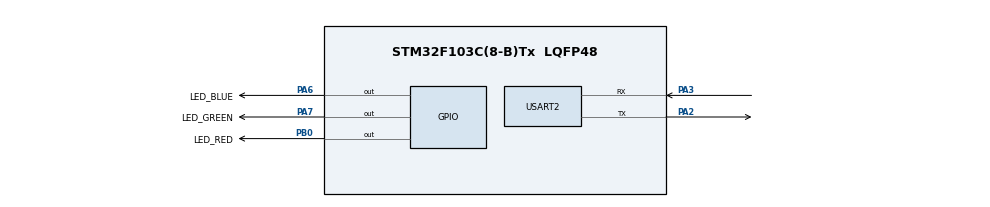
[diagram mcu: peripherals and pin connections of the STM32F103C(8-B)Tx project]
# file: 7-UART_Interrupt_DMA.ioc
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Dma.Request0=USART2_TX
Dma.Request1=USART2_RX
Dma.USART2_RX.1.Direction=DMA_PERIPH_TO_MEMORY
Dma.USART2_RX.1.Instance=DMA1_Channel6
Dma.USART2_RX.1.MemDataAlignment=DMA_MDATAALIGN_BYTE
Dma.USART2_RX.1.MemInc=DMA_MINC_ENABLE
Dma.USART2_RX.1.Mode=DMA_NORMAL
Dma.USART2_RX.1.PeriphDataAlignment=DMA_PDATAALIGN_BYTE
Dma.USART2_RX.1.PeriphInc=DMA_PINC_DISABLE
Dma.USART2_RX.1.Priority=DMA_PRIORITY_LOW
Dma.USART2_TX.0.Direction=DMA_MEMORY_TO_PERIPH
Dma.USART2_TX.0.Instance=DMA1_Channel7
Dma.USART2_TX.0.MemDataAlignment=DMA_MDATAALIGN_BYTE
Dma.USART2_TX.0.MemInc=DMA_MINC_ENABLE
Dma.USART2_TX.0.Mode=DMA_NORMAL
Dma.USART2_TX.0.PeriphDataAlignment=DMA_PDATAALIGN_BYTE
Dma.USART2_TX.0.PeriphInc=DMA_PINC_DISABLE
Dma.USART2_TX.0.Priority=DMA_PRIORITY_LOW
Mcu.Family=STM32F1
Mcu.Name=STM32F103C(8-B)Tx
Mcu.Package=LQFP48
NVIC.DMA1_Channel6_IRQn=true\:0\:0\:false\:false\:true\:false\:true\:true
NVIC.DMA1_Channel7_IRQn=true\:0\:0\:false\:false\:true\:false\:true\:true
NVIC.PriorityGroup=NVIC_PRIORITYGROUP_4
NVIC.USART2_IRQn=true\:0\:0\:false\:false\:true\:true\:true\:true
PA13.Mode=Serial_Wire
PA13.Signal=SYS_JTMS-SWDIO
PA14.Mode=Serial_Wire
PA14.Signal=SYS_JTCK-SWCLK
PA2.Mode=Asynchronous
PA2.Signal=USART2_TX
PA3.Mode=Asynchronous
PA3.Signal=USART2_RX
PA6.GPIO_Label=LED_BLUE
PA6.Signal=GPIO_Output
PA7.GPIO_Label=LED_GREEN
PA7.Signal=GPIO_Output
PB0.GPIO_Label=LED_RED
PB0.Signal=GPIO_Output
ProjectManager.HeapSize=0x200
ProjectManager.StackSize=0x400
ProjectManager.TargetToolchain=STM32CubeIDE
RCC.APB1Freq_Value=8000000
RCC.APB2Freq_Value=8000000
USART2.VirtualMode=VM_ASYNC
board=custom

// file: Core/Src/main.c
/* USER CODE BEGIN Header */
/**
 *
 * Upgrade
 * 1. continous reading from receive
 *
  ******************************************************************************
  * @file           : main.c
  * @brief          : Main program body
  ******************************************************************************
  * @attention
  *
  * Copyright (c) 2024 STMicroelectronics.
  * All rights reserved.
  *
  * This software is licensed under terms that can be found in the LICENSE file
  * in the root directory of this software component.
  * If no LICENSE file comes with this software, it is provided AS-IS.
  *
  ******************************************************************************
  */
/* USER CODE END Header */
#include "main.h"

UART_HandleTypeDef huart2;
DMA_HandleTypeDef hdma_usart2_tx;
DMA_HandleTypeDef hdma_usart2_rx;

/* USER CODE BEGIN PV */
uint8_t receiveData[50];
/* USER CODE END PV */

void SystemClock_Config(void);
static void MX_GPIO_Init(void);
static void MX_DMA_Init(void);
static void MX_USART2_UART_Init(void);

/* USER CODE BEGIN 0 */
void HAL_UART_RxCpltCallback(UART_HandleTypeDef *huart){
	HAL_UART_Transmit_DMA(&huart2, receiveData, 2);
	GPIO_PinState state = GPIO_PIN_SET;

	// rule: enter text at serial terminal
	// R0 = red off, R1 = red on;
	// R1 = red off, R1 = red on;
	// G0 = green off, R1 = green on;
	// G1 = green off, R1 = green on;
	// B0 = blue off, R1 = blue on;
	// B1 = blue off, R1 = blue on;

	// weakness: uart received must be exact size (2 char)
	if (receiveData[1]=='0'){
	  state = GPIO_PIN_RESET;
	}else if (receiveData[1]=='1') {
	  state = GPIO_PIN_SET;

	}

	if (receiveData[0]=='R'){
	  HAL_GPIO_WritePin(LED_RED_GPIO_Port, LED_RED_Pin, state);

	}else if (receiveData[0]=='G') {
	  HAL_GPIO_WritePin(LED_GREEN_GPIO_Port, LED_GREEN_Pin, state);
	}else if (receiveData[0]=='B') {
	  HAL_GPIO_WritePin(LED_BLUE_GPIO_Port, LED_BLUE_Pin, state);
	}
	HAL_UART_Receive_DMA(&huart2, receiveData, 2);
}

void HAL_UARTEx_RxEventCallback(UART_HandleTypeDef *huart, uint16_t Size){
	if(huart==&huart2){
		HAL_UART_Transmit_DMA(huart, receiveData, Size);

		HAL_UARTEx_ReceiveToIdle_DMA(&huart2, receiveData, sizeof(receiveData));
		__HAL_DMA_DISABLE_IT(&hdma_usart2_rx, DMA_IT_HT);

	}
}
/* USER CODE END 0 */

int main(void)
{

  /* MCU Configuration--------------------------------------------------------*/

  /* Reset of all peripherals, Initializes the Flash interface and the Systick. */
  HAL_Init();

  /* Configure the system clock */
  SystemClock_Config();

  /* Initialize all configured peripherals */
  MX_GPIO_Init();
  MX_DMA_Init();
  MX_USART2_UART_Init();
  /* USER CODE BEGIN 2 */

//  HAL_UART_Receive_DMA(&huart2, receiveData, 2);
  HAL_UARTEx_ReceiveToIdle_DMA(&huart2, receiveData, sizeof(receiveData));
  __HAL_DMA_DISABLE_IT(&hdma_usart2_rx, DMA_IT_HT);
  /* USER CODE END 2 */

  /* Infinite loop */
  while (1)
  {

  }
}

void SystemClock_Config(void)
{
  RCC_OscInitTypeDef RCC_OscInitStruct = {0};
  RCC_ClkInitTypeDef RCC_ClkInitStruct = {0};

  /** Initializes the RCC Oscillators according to the specified parameters
  * in the RCC_OscInitTypeDef structure.
  */
  RCC_OscInitStruct.OscillatorType = RCC_OSCILLATORTYPE_HSI;
  RCC_OscInitStruct.HSIState = RCC_HSI_ON;
  RCC_OscInitStruct.HSICalibrationValue = RCC_HSICALIBRATION_DEFAULT;
  RCC_OscInitStruct.PLL.PLLState = RCC_PLL_NONE;
  if (HAL_RCC_OscConfig(&RCC_OscInitStruct) != HAL_OK)
  {
    Error_Handler();
  }

  /** Initializes the CPU, AHB and APB buses clocks
  */
  RCC_ClkInitStruct.ClockType = RCC_CLOCKTYPE_HCLK|RCC_CLOCKTYPE_SYSCLK
                              |RCC_CLOCKTYPE_PCLK1|RCC_CLOCKTYPE_PCLK2;
  RCC_ClkInitStruct.SYSCLKSource = RCC_SYSCLKSOURCE_HSI;
  RCC_ClkInitStruct.AHBCLKDivider = RCC_SYSCLK_DIV1;
  RCC_ClkInitStruct.APB1CLKDivider = RCC_HCLK_DIV1;
  RCC_ClkInitStruct.APB2CLKDivider = RCC_HCLK_DIV1;

  if (HAL_RCC_ClockConfig(&RCC_ClkInitStruct, FLASH_LATENCY_0) != HAL_OK)
  {
    Error_Handler();
  }
}

static void MX_USART2_UART_Init(void)
{

  huart2.Instance = USART2;
  huart2.Init.BaudRate = 115200;
  huart2.Init.WordLength = UART_WORDLENGTH_8B;
  huart2.Init.StopBits = UART_STOPBITS_1;
  huart2.Init.Parity = UART_PARITY_NONE;
  huart2.Init.Mode = UART_MODE_TX_RX;
  huart2.Init.HwFlowCtl = UART_HWCONTROL_NONE;
  huart2.Init.OverSampling = UART_OVERSAMPLING_16;
  if (HAL_UART_Init(&huart2) != HAL_OK)
  {
    Error_Handler();
  }

}

static void MX_DMA_Init(void)
{

  /* DMA controller clock enable */
  __HAL_RCC_DMA1_CLK_ENABLE();

  /* DMA interrupt init */
  /* DMA1_Channel6_IRQn interrupt configuration */
  HAL_NVIC_SetPriority(DMA1_Channel6_IRQn, 0, 0);
  HAL_NVIC_EnableIRQ(DMA1_Channel6_IRQn);
  /* DMA1_Channel7_IRQn interrupt configuration */
  HAL_NVIC_SetPriority(DMA1_Channel7_IRQn, 0, 0);
  HAL_NVIC_EnableIRQ(DMA1_Channel7_IRQn);

}

static void MX_GPIO_Init(void)
{
  GPIO_InitTypeDef GPIO_InitStruct = {0};

  /* GPIO Ports Clock Enable */
  __HAL_RCC_GPIOA_CLK_ENABLE();
  __HAL_RCC_GPIOB_CLK_ENABLE();

  /*Configure GPIO pin Output Level */
  HAL_GPIO_WritePin(GPIOA, LED_BLUE_Pin|LED_GREEN_Pin, GPIO_PIN_RESET);

  /*Configure GPIO pin Output Level */
  HAL_GPIO_WritePin(LED_RED_GPIO_Port, LED_RED_Pin, GPIO_PIN_RESET);

  /*Configure GPIO pins : LED_BLUE_Pin LED_GREEN_Pin */
  GPIO_InitStruct.Pin = LED_BLUE_Pin|LED_GREEN_Pin;
  GPIO_InitStruct.Mode = GPIO_MODE_OUTPUT_PP;
  GPIO_InitStruct.Pull = GPIO_NOPULL;
  GPIO_InitStruct.Speed = GPIO_SPEED_FREQ_LOW;
  HAL_GPIO_Init(GPIOA, &GPIO_InitStruct);

  /*Configure GPIO pin : LED_RED_Pin */
  GPIO_InitStruct.Pin = LED_RED_Pin;
  GPIO_InitStruct.Mode = GPIO_MODE_OUTPUT_PP;
  GPIO_InitStruct.Pull = GPIO_NOPULL;
  GPIO_InitStruct.Speed = GPIO_SPEED_FREQ_LOW;
  HAL_GPIO_Init(LED_RED_GPIO_Port, &GPIO_InitStruct);

}

void Error_Handler(void)
{
  __disable_irq();
  while (1)
  {
  }
}
